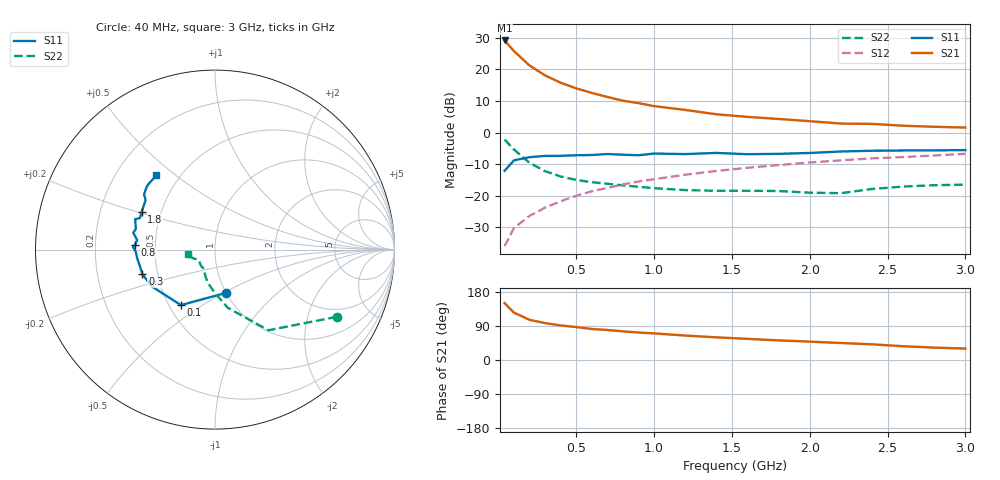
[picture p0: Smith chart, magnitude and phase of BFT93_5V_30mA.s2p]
! Filename:  BFT93D.S2P  Version:  2.0
! Philips part #: BFT93  Date: May 1990
! Bias condition: Vce=-5V, Ic=-30mA
#  MHz  S  MA  R  50
! Freq  S11  S21  S12  S22  !GUM [dB]
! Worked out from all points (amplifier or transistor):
!   21 points, 40 MHz to 3 GHz, reference 50 ohm
!   highest |S21| = 29.1 dB at 40 MHz (marker M1)
!   |S21| within 3 dB of that: start of sweep to 93.43 MHz
!   unconditionally stable (mu >= 1): 417.2 MHz to 2.233 GHz
!   at 300 MHz: K = 0.94, MSG = 20.9 dB, |S12| = -23.7 dB
!   at 1 GHz: K = 1.04, MAG = 10.3 dB, |S12| = -14.8 dB
!   at 3 GHz: K = 0.96, MSG = 4.1 dB, |S12| = -6.7 dB
!   S11 on the Smith chart (normalised r, x): 40 MHz: 0.99, -0.51; 100 MHz: 0.57, -0.41; 300 MHz: 0.41, -0.14; 800 MHz: 0.38, +0.03; 1.8 GHz: 0.39, +0.21; 3 GHz: 0.37, +0.43
40  0.249 -76.4  28.47 150.1  0.016 76.8  0.775 -28.9
100  0.363 -121.6  19.32 125.0  0.031 66.9  0.539 -56.5
200  0.408 -149.9  11.46 106.0  0.048 65.8  0.332 -77.6
300  0.427 -161.2  7.98 97.3  0.065 68.8  0.245 -89.5
400  0.428 -167.0  6.12 91.2  0.082 69.5  0.202 -98.4
500  0.437 -174.3  4.984 86.9  0.1 69.8  0.178 -104.4
600  0.441 -178.2  4.224 81.8  0.118 70.0  0.164 -108.0
700  0.457 178.2  3.645 79.2  0.133 69.6  0.155 -110.5
800  0.446 176.6  3.18 75.6  0.151 69.1  0.146 -112.7
900  0.437 173.0  2.913 72.5  0.168 68.2  0.139 -114.7
1000  0.465 168.4  2.613 70.2  0.183 67.4  0.132 -116.0
1200  0.456 165.3  2.275 64.5  0.215 66.2  0.123 -121.8
1400  0.476 159.1  1.941 59.8  0.247 64.5  0.12 -127.1
1600  0.454 157.3  1.765 55.8  0.277 62.3  0.12 -128.2
1800  0.46 152.7  1.636 51.7  0.306 60.8  0.119 -131.8
2000  0.475 144.5  1.51 48.5  0.336 58.9  0.112 -138.6
2200  0.501 142.1  1.385 44.8  0.363 57.3  0.11 -149.6
2400  0.515 137.9  1.368 41.4  0.39 55.1  0.128 -156.8
2600  0.52 136.1  1.279 36.3  0.409 53.2  0.14 -162.2
2800  0.522 132.7  1.232 32.7  0.433 51.3  0.147 -163.7
3000  0.527 128.4  1.197 30.1  0.461 49.7  0.15 -171.2
